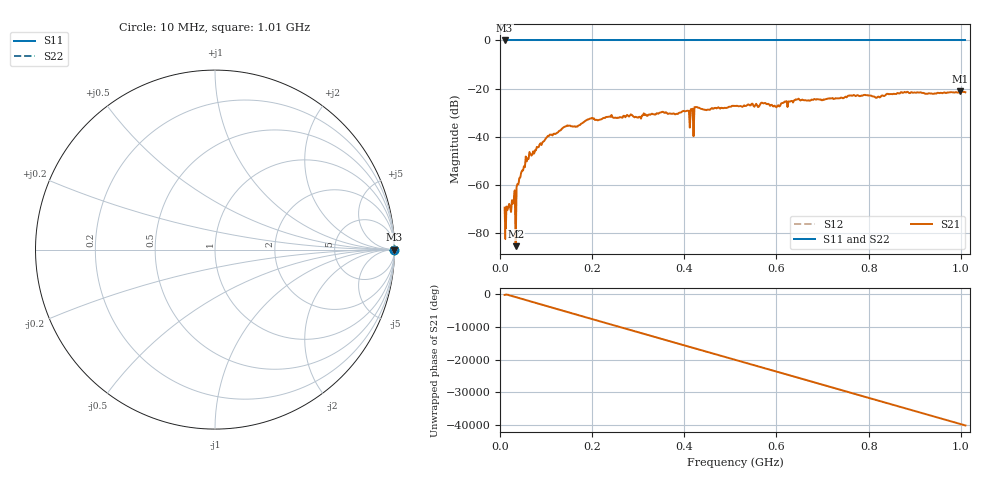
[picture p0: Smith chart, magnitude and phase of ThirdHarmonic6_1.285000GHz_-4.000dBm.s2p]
! 8/16/2025 2:00:32 PM
! C:\ANRITSUVNA\TEMP\TEMP.S2P
! CHANNEL.1
! TR.MEASUREMENT
! RAW.DATA
! RF.CORRECTION.OFF
! AVERAGING.OFF
! IF.BANDWIDTH: 5KHZ
! SWEEPTYPE:  FREQ.SWEEP(Linear)
! Reference Plane Port Info
! PORT:  PORT1  PORT2
! DISTANCE:  0  m  0  m
! TIME:  0  s  0  s
! PHASE.OFFSET:  0  deg.  0  deg.
! LOSS:  0  dB  0  dB
! REF.LOSS:  0  dB  0  dB
! REF.FREQ:  0  Hz  0  Hz
! Power Info
! POWER:  -20  dBm  -20  dBm
! EFF.POWER:  -20  dBm  -20  dBm
! SOURCE.ATTEN:  0  dB  0  dB
! TEST.ATTEN:  0  dB  0  dB
# GHZ S RI R 50.0
! FREQ.GHZ  S11RE  S11IM  S21RE  S21IM  S12RE  S12IM  S22RE  S22IM
!; PortSelection: Port_12
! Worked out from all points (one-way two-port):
!   501 points, 10 MHz to 1.01 GHz, reference 50 ohm
!   highest |S21| = -21.08 dB at 998 MHz (marker M1); lowest = -85.4 dB at 34 MHz (marker M2)
!   lowest |S11| = 0.0 dB at 10 MHz (marker M3)
!   |S11| at or under -10 dB: nowhere
!   |S22| runs from 0.0 to 0.0 dB; largest |S21 - S12| = 1.1
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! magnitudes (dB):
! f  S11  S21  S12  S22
! 10 MHz  0.0  -69.4  0.0  0.0
! 28 MHz  0.0  -67.8  0.0  0.0
! 30 MHz  0.0  -66.2  0.0  0.0
! 34 MHz  0.0  -85.4  0.0  0.0
! 38 MHz  0.0  -59.6  0.0  0.0
! 40 MHz  0.0  -59.8  0.0  0.0
! 60 MHz  0.0  -49.0  0.0  0.0
! 106 MHz  0.0  -39.7  0.0  0.0
! 178 MHz  0.0  -34.4  0.0  0.0
! 198 MHz  0.0  -32.4  0.0  0.0
! 344 MHz  0.0  -30.4  0.0  0.0
! 406 MHz  0.0  -29.2  0.0  0.0
! 414 MHz  0.0  -28.5  0.0  0.0
! 416 MHz  0.0  -28.7  0.0  0.0
! 424 MHz  0.0  -27.7  0.0  0.0
! 426 MHz  0.0  -27.6  0.0  0.0
! 510 MHz  0.0  -27.2  0.0  0.0
! 602 MHz  0.0  -27.1  0.0  0.0
! 678 MHz  0.0  -24.6  0.0  0.0
! 844 MHz  0.0  -22.4  0.0  0.0
! 998 MHz  0.0  -21.1  0.0  0.0
! 1.01 GHz  0.0  -21.5  0.0  0.0
